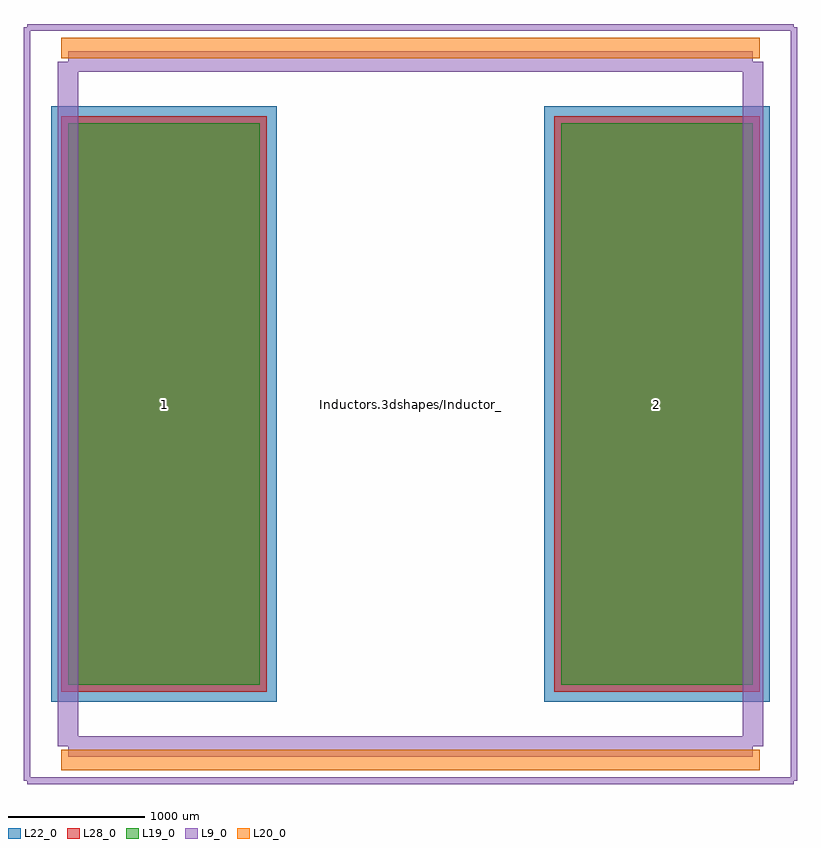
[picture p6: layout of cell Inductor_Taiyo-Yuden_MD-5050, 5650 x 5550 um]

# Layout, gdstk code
import gdstk
lib = gdstk.Library(unit=1e-6, precision=1e-09)
def R(c, l, rs):  # rectangles x0, y0, x1, y1
    for r in rs: c.add(gdstk.rectangle(r[:2], r[2:], *l))
L9_0 = (9, 0)
L19_0 = (19, 0)
L20_0 = (20, 0)
L22_0 = (22, 0)
L28_0 = (28, 0)

inductor_taiyo_yuden_md_ = lib.new_cell('Inductor_Taiyo-Yuden_MD-5050')
R(inductor_taiyo_yuden_md_, L19_0, [(-2500,-2050,-1100,2050), (1100,-2050,2500,2050)])
R(inductor_taiyo_yuden_md_, L22_0, [(-2625,-2175,-975,2175), (975,-2175,2625,2175)])
R(inductor_taiyo_yuden_md_, L28_0, [(-2550,-2100,-1050,2100), (1050,-2100,2550,2100)])
inductor_taiyo_yuden_md_.add(gdstk.FlexPath([(2800,2750),(-2800,2750)], 50, ends="flush", simple_path=True, layer=9, datatype=0))  # L9_0
inductor_taiyo_yuden_md_.add(gdstk.FlexPath([(2800,-2750),(2800,2750)], 50, ends="flush", simple_path=True, layer=9, datatype=0))  # L9_0
inductor_taiyo_yuden_md_.add(gdstk.FlexPath([(-2800,-2750),(2800,-2750)], 50, ends="flush", simple_path=True, layer=9, datatype=0))  # L9_0
inductor_taiyo_yuden_md_.add(gdstk.FlexPath([(-2800,2750),(-2800,-2750)], 50, ends="flush", simple_path=True, layer=9, datatype=0))  # L9_0
inductor_taiyo_yuden_md_.add(gdstk.FlexPath([(-2550,-2600),(2550,-2600)], 149.998, ends="flush", simple_path=True, layer=20, datatype=0))  # L20_0
inductor_taiyo_yuden_md_.add(gdstk.FlexPath([(-2550,2600),(2550,2600)], 149.998, ends="flush", simple_path=True, layer=20, datatype=0))  # L20_0
inductor_taiyo_yuden_md_.add(gdstk.FlexPath([(2500,2500),(-2500,2500)], 149.998, ends="flush", simple_path=True, layer=9, datatype=0))  # L9_0
inductor_taiyo_yuden_md_.add(gdstk.FlexPath([(2500,-2500),(2500,2500)], 149.998, ends="flush", simple_path=True, layer=9, datatype=0))  # L9_0
inductor_taiyo_yuden_md_.add(gdstk.FlexPath([(-2500,-2500),(2500,-2500)], 149.998, ends="flush", simple_path=True, layer=9, datatype=0))  # L9_0
inductor_taiyo_yuden_md_.add(gdstk.FlexPath([(-2500,2500),(-2500,-2500)], 149.998, ends="flush", simple_path=True, layer=9, datatype=0))  # L9_0
inductor_taiyo_yuden_md_.add(gdstk.Label('Inductors.3dshapes/Inductor_Taiyo-Yuden_MD-5050.wrl', (0,0), layer=12, texttype=0))
inductor_taiyo_yuden_md_.add(gdstk.Label('2', (1800,0), layer=28, texttype=0))
inductor_taiyo_yuden_md_.add(gdstk.Label('1', (-1800,0), layer=28, texttype=0))
inductor_taiyo_yuden_md_.add(gdstk.Label('type', (0,-4000), layer=9, texttype=0))
inductor_taiyo_yuden_md_.add(gdstk.Label('devicename', (0,3500), layer=9, texttype=0))

lib.write_gds('Inductor_Taiyo-Yuden_MD-5050.gds')
